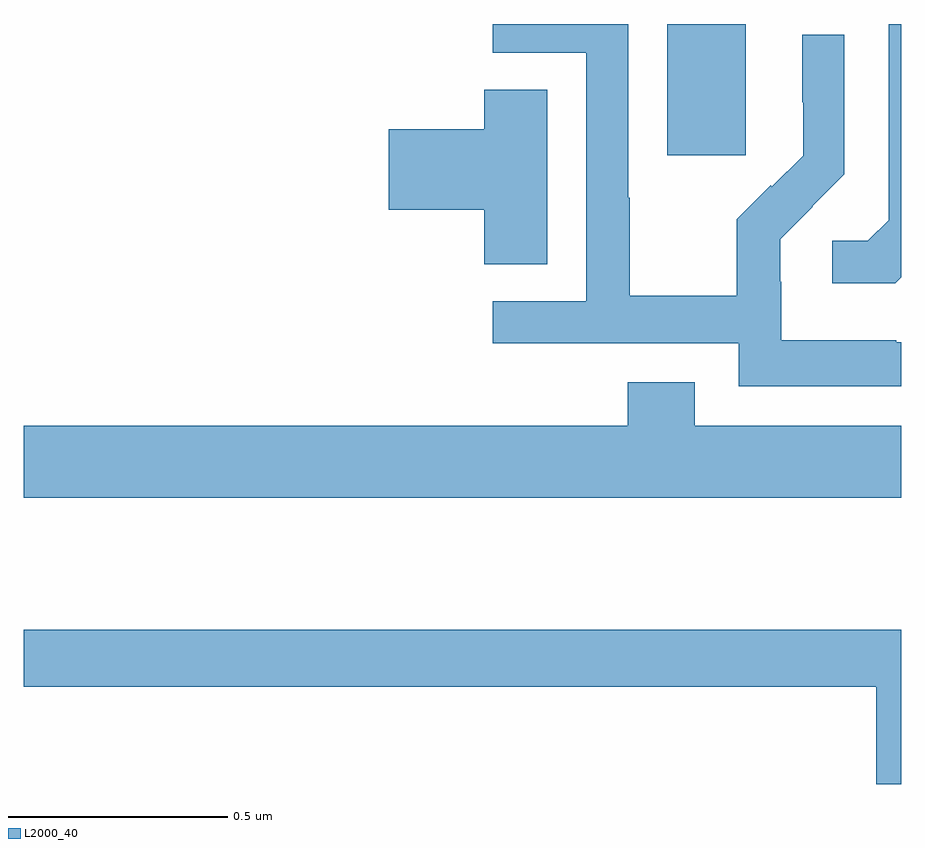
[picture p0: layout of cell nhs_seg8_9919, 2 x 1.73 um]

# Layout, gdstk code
import gdstk
lib = gdstk.Library(unit=1e-6, precision=1e-09)
def R(c, l, rs):  # rectangles x0, y0, x1, y1
    for r in rs: c.add(gdstk.rectangle(r[:2], r[2:], *l))
def P(c, l, *ps):  # polygons
    for p in ps: c.add(gdstk.Polygon(p, *l))
L2000_40 = (2000, 40)

nhs_seg8_9919 = lib.new_cell('nhs_seg8_9919')
R(nhs_seg8_9919, L2000_40, [(243.467,1130.601,243.646,1130.9)])
P(nhs_seg8_9919, L2000_40, [(244,1130.175),(243.989,1130.175),(243.989,1130.179),(243.726,1130.179),(243.726,1130.313),(243.724,1130.313),(243.724,1130.41),(243.798,1130.484),(243.797,1130.485),(243.87,1130.558),(243.87,1130.876),(243.774,1130.876),(243.774,1130.722),(243.776,1130.722),(243.776,1130.6),(243.705,1130.529),(243.702,1130.532),(243.625,1130.455),(243.625,1130.281),(243.381,1130.281),(243.381,1130.504),(243.378,1130.504),(243.378,1130.9),(243.069,1130.9),(243.069,1130.835),(243.282,1130.835),(243.282,1130.268),(243.069,1130.268),(243.069,1130.172),(243.63,1130.172),(243.63,1130.075),(244,1130.075)],
  [(244,1130.323),(244,1130.9),(243.971,1130.9),(243.971,1130.453),(243.924,1130.406),(243.843,1130.406),(243.843,1130.309),(243.986,1130.309)],
  [(243.193,1130.75),(243.05,1130.75),(243.05,1130.66),(242.832,1130.66),(242.832,1130.477),(243.05,1130.477),(243.05,1130.353),(243.193,1130.353)],
  [(244,1129.984),(243.529,1129.984),(243.529,1130.083),(243.377,1130.083),(243.377,1129.984),(242,1129.984),(242,1129.82),(244,1129.82)],
  [(244,1129.519),(242,1129.519),(242,1129.39),(243.943,1129.39),(243.943,1129.168),(244,1129.168)])

lib.write_gds('nhs_seg8_9919.gds')
